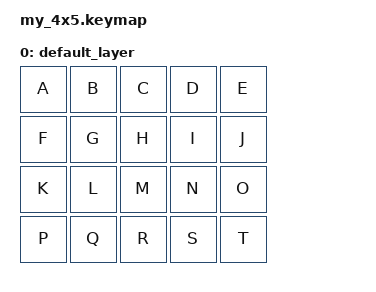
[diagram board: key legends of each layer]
/ {
    keymap {
        compatible = "zmk,keymap";

        default_layer {
            bindings = <
                &kp A &kp B &kp C &kp D &kp E
                &kp F &kp G &kp H &kp I &kp J
                &kp K &kp L &kp M &kp N &kp O
                &kp P &kp Q &kp R &kp S &kp T
            >;
        };
    };
};
